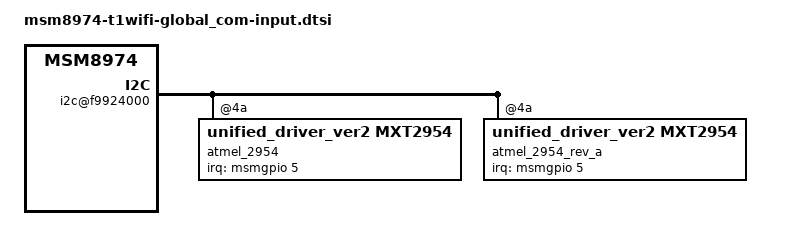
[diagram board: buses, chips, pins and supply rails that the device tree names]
/* Copyright (c) 2012, Code Aurora Forum. All rights reserved.
 *
 * This program is free software; you can redistribute it and/or modify
 * it under the terms of the GNU General Public License version 2 and
 * only version 2 as published by the Free Software Foundation.
 *
 * This program is distributed in the hope that it will be useful,
 * but WITHOUT ANY WARRANTY; without even the implied warranty of
 * MERCHANTABILITY or FITNESS FOR A PARTICULAR PURPOSE.  See the
 * GNU General Public License for more details.
 */

&soc {
	i2c@f9924000 {
		atmel_2954@4a {								/*touch ic I2C bus adddress*/
			status = "ok";								/*OK-used*/
			compatible = "unified_driver_ver2,mXT2954";	/*dtsi name*/
			interrupt-parent = <&msmgpio>;
			interrupts = <5 0x2>;
		};
		atmel_2954_rev_a@4a {						/*touch ic I2C bus adddress*/
			status = "ok";								/*OK-used*/
			compatible = "unified_driver_ver2,mXT2954";	/*dtsi name*/
			interrupt-parent = <&msmgpio>;
			interrupts = <5 0x2>;
		};
	};
};
